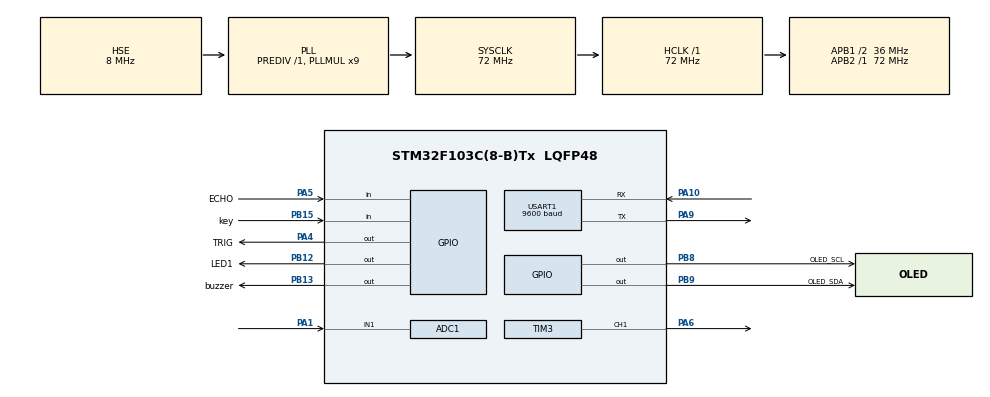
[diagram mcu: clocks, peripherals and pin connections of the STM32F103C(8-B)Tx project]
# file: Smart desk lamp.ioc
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ADC1.Channel-0\#ChannelRegularConversion=ADC_CHANNEL_1
ADC1.ContinuousConvMode=ENABLE
ADC1.NbrOfConversion=1
ADC1.NbrOfConversionFlag=1
ADC1.Rank-0\#ChannelRegularConversion=1
ADC1.SamplingTime-0\#ChannelRegularConversion=ADC_SAMPLETIME_1CYCLE_5
ADC1.master=1
Mcu.Family=STM32F1
Mcu.Name=STM32F103C(8-B)Tx
Mcu.Package=LQFP48
NVIC.PriorityGroup=NVIC_PRIORITYGROUP_4
NVIC.USART1_IRQn=true\:0\:0\:false\:false\:true\:true\:true\:true
PA1.Signal=ADCx_IN1
PA10.Mode=Asynchronous
PA10.Signal=USART1_RX
PA13.Mode=Serial_Wire
PA13.Signal=SYS_JTMS-SWDIO
PA14.Mode=Serial_Wire
PA14.Signal=SYS_JTCK-SWCLK
PA4.GPIO_Label=TRIG
PA4.GPIO_Speed=GPIO_SPEED_FREQ_HIGH
PA4.Signal=GPIO_Output
PA5.GPIO_Label=ECHO
PA5.GPIO_PuPd=GPIO_PULLDOWN
PA5.Signal=GPIO_Input
PA6.Signal=S_TIM3_CH1
PA9.Mode=Asynchronous
PA9.Signal=USART1_TX
PB12.GPIO_Label=LED1
PB12.GPIO_PuPd=GPIO_PULLUP
PB12.GPIO_Speed=GPIO_SPEED_FREQ_HIGH
PB12.PinState=GPIO_PIN_SET
PB12.Signal=GPIO_Output
PB13.GPIO_Label=buzzer
PB13.GPIO_Speed=GPIO_SPEED_FREQ_HIGH
PB13.Signal=GPIO_Output
PB15.GPIO_Label=key
PB15.GPIO_PuPd=GPIO_PULLUP
PB15.Signal=GPIO_Input
PB8.GPIO_Label=OLED_SCL
PB8.GPIO_ModeDefaultOutputPP=GPIO_MODE_OUTPUT_OD
PB8.GPIO_PuPd=GPIO_NOPULL
PB8.GPIO_Speed=GPIO_SPEED_FREQ_HIGH
PB8.Signal=GPIO_Output
PB9.GPIO_Label=OLED_SDA
PB9.GPIO_ModeDefaultOutputPP=GPIO_MODE_OUTPUT_OD
PB9.GPIO_PuPd=GPIO_NOPULL
PB9.GPIO_Speed=GPIO_SPEED_FREQ_HIGH
PB9.Signal=GPIO_Output
PC14-OSC32_IN.Mode=LSE-External-Oscillator
PC14-OSC32_IN.Signal=RCC_OSC32_IN
PC15-OSC32_OUT.Mode=LSE-External-Oscillator
PC15-OSC32_OUT.Signal=RCC_OSC32_OUT
PD0-OSC_IN.Mode=HSE-External-Oscillator
PD0-OSC_IN.Signal=RCC_OSC_IN
PD1-OSC_OUT.Mode=HSE-External-Oscillator
PD1-OSC_OUT.Signal=RCC_OSC_OUT
ProjectManager.HeapSize=0x200
ProjectManager.StackSize=0x400
ProjectManager.TargetToolchain=MDK-ARM V5.32
RCC.ADCPresc=RCC_ADCPCLK2_DIV6
RCC.AHBFreq_Value=72000000
RCC.APB1CLKDivider=RCC_HCLK_DIV2
RCC.APB1Freq_Value=36000000
RCC.APB1TimFreq_Value=72000000
RCC.APB2Freq_Value=72000000
RCC.APB2TimFreq_Value=72000000
RCC.HCLKFreq_Value=72000000
RCC.PLLMUL=RCC_PLL_MUL9
RCC.PLLSourceVirtual=RCC_PLLSOURCE_HSE
RCC.SYSCLKFreq_VALUE=72000000
RCC.SYSCLKSource=RCC_SYSCLKSOURCE_PLLCLK
RCC.USBFreq_Value=72000000
SH.ADCx_IN1.0=ADC1_IN1,IN1
SH.S_TIM3_CH1.0=TIM3_CH1,PWM Generation1 CH1
TIM2.Prescaler=72-1
TIM3.AutoReloadPreload=TIM_AUTORELOAD_PRELOAD_ENABLE
TIM3.Channel-PWM\ Generation1\ CH1=TIM_CHANNEL_1
TIM3.OCPolarity_1=TIM_OCPOLARITY_LOW
TIM3.Period=99
TIM3.Prescaler=7199
USART1.BaudRate=9600
USART1.VirtualMode=VM_ASYNC
VP_TIM2_VS_ClockSourceINT.Mode=Internal
VP_TIM3_VS_ClockSourceINT.Mode=Internal
board=custom

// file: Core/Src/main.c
/* USER CODE BEGIN Header */
/**
  ******************************************************************************
  * @file           : main.c
  * @brief          : Main program body
  ******************************************************************************
  * @attention
  *
  * Copyright (c) 2026 STMicroelectronics.
  * All rights reserved.
  *
  * This software is licensed under terms that can be found in the LICENSE file
  * in the root directory of this software component.
  * If no LICENSE file comes with this software, it is provided AS-IS.
  *
  ******************************************************************************
  */
/* USER CODE END Header */
#include "main.h"
#include "adc.h"
#include "tim.h"
#include "usart.h"
#include "gpio.h"

/* USER CODE BEGIN Includes */
#include "oled.h"
#include "HC-SR04.h"
#include "bluetooth.h"
#include "Buzzer.h"
#include "LED.h"
#include "Key.h"
#include "Posture.h"
#include "Fatigue.h"
//#include "OLED_Ext.h"
/* USER CODE END Includes */

/* USER CODE BEGIN PV */
uint16_t distance = 0;     // 超声波测距值
uint16_t adc_value = 0;    // ADC值

/* 自动调光参数：实测标定值
 * 0 lux   → ADC 3554 → 占空比 93%（最暗环境，灯最亮）
 * 500 lux → ADC 1200 → 占空比 12%（最亮环境，灯最暗）
 * PA6 PWM (1kHz) → 100Ω → AO3400 MOSFET → 5V LED 灯带
 */
#define ADC_DARK        3499
#define ADC_BRIGHT      264
#define DUTY_MAX        100
#define DUTY_MIN        12
#define DEAD_ZONE       2       // 死区：变化小于此值不响应
/* USER CODE END PV */

void SystemClock_Config(void);

/* USER CODE BEGIN 0 */

/**
  * @brief  自动调光：根据 ADC 值计算目标 PWM 占空比
  *         0 lux → 93%, 500 lux → 12%，线性映射 + 死区 + 平滑
  * @param  adc: 当前 ADC 原始值
  * @retval 滤波后的目标占空比 (0~100)
  */
uint8_t Auto_Brightness(uint16_t adc)
{
    static uint8_t last_duty = 50;
    uint8_t target;

    /* ADC 限幅 */
    if (adc > ADC_DARK)  adc = ADC_DARK;
    if (adc < ADC_BRIGHT) adc = ADC_BRIGHT;

    /* 分段线性映射：ADC 大（暗）→ duty 大，ADC 小（亮）→ duty 小 */
    /* 共12段，覆盖实际 ADC 范围 3499~264 */
    if (adc >= 3200) {
        /* 3200~3499 → 88~100 */
        target = 88 + (uint8_t)((uint32_t)(adc - 3200) * 12 / 299);
    } else if (adc >= 2900) {
        /* 2900~3200 → 76~88 */
        target = 76 + (uint8_t)((uint32_t)(adc - 2900) * 12 / 300);
    } else if (adc >= 2600) {
        /* 2600~2900 → 65~76 */
        target = 65 + (uint8_t)((uint32_t)(adc - 2600) * 11 / 300);
    } else if (adc >= 2300) {
        /* 2300~2600 → 54~65 */
        target = 54 + (uint8_t)((uint32_t)(adc - 2300) * 11 / 300);
    } else if (adc >= 2000) {
        /* 2000~2300 → 44~54 */
        target = 44 + (uint8_t)((uint32_t)(adc - 2000) * 10 / 300);
    } else if (adc >= 1700) {
        /* 1700~2000 → 34~44 */
        target = 34 + (uint8_t)((uint32_t)(adc - 1700) * 10 / 300);
    } else if (adc >= 1400) {
        /* 1400~1700 → 25~34 */
        target = 25 + (uint8_t)((uint32_t)(adc - 1400) *  9 / 300);
    } else if (adc >= 1100) {
        /* 1100~1400 → 18~25 */
        target = 18 + (uint8_t)((uint32_t)(adc - 1100) *  7 / 300);
    } else if (adc >= 800) {
        /* 800~1100 → 14~18 */
        target = 14 + (uint8_t)((uint32_t)(adc - 800) *  4 / 300);
    } else if (adc >= 500) {
        /* 500~800 → 12~14 */
        target = 12 + (uint8_t)((uint32_t)(adc - 500) *  2 / 300);
    } else {
        /* 264~500 → 12 */
        target = 12;
    }

    /* 死区：变化太小不响应，避免亮度抖动 */
    if (abs((int)target - (int)last_duty) <= DEAD_ZONE) {
        return last_duty;
    }

    /* 自适应步长：大变化快追，小变化慢调，消除突变同时保证响应速度 */
    int16_t diff = (int16_t)target - (int16_t)last_duty;
    uint8_t step;

    if (abs(diff) > 20)
        step = 5;       /* 大变化时快追 */
    else if (abs(diff) > 5)
        step = 2;       /* 中变化时中速 */
    else
        step = 1;       /* 小变化时慢调 */

    if (diff > 0) {
        last_duty += step;
        if (last_duty > target) last_duty = target;
    } else {
        last_duty -= step;
        if (last_duty < target) last_duty = target;
    }

    return last_duty;
}

/**
  * @brief  ADC 滑动平均滤波
  * @retval 滤波后的 ADC 值
  */
#define ADC_FILTER_SIZE  8

uint16_t ADC_GetFiltered(void)
{
    static uint16_t buf[ADC_FILTER_SIZE] = {0};
    static uint8_t  idx = 0;
    static uint32_t sum = 0;
    static uint8_t  filled = 0;

    sum -= buf[idx];
    buf[idx] = HAL_ADC_GetValue(&hadc1);
    sum += buf[idx];
    idx = (idx + 1) % ADC_FILTER_SIZE;

    if (!filled) {
        if (idx == 0) filled = 1;
    }

    uint8_t count = filled ? ADC_FILTER_SIZE : idx;
    if (count == 0) count = 1;  // 安全保护，防止除零
    return (uint16_t)(sum / count);
}

/* USER CODE END 0 */

int main(void)
{

  /* MCU Configuration--------------------------------------------------------*/

  /* Reset of all peripherals, Initializes the Flash interface and the Systick. */
  HAL_Init();

  /* Configure the system clock */
  SystemClock_Config();

  /* Initialize all configured peripherals */
  MX_GPIO_Init();
  MX_ADC1_Init();
  MX_TIM3_Init();
  MX_TIM2_Init();
  MX_USART1_UART_Init();
  /* USER CODE BEGIN 2 */
  HAL_TIM_PWM_Start(&htim3,TIM_CHANNEL_1);
  OLED_Init();
  HC_SR04_Init();
  Bluetooth_Init();
  HAL_ADCEx_Calibration_Start(&hadc1);
  HAL_ADC_Start(&hadc1);
  Buzzer_Init();
  Key_Init();
  LED_Init();
  Posture_Init();
  Fatigue_Init();
  OLED_Clear();
  //OLED_ShowString(1, 1, "ADC:");
  OLED_ShowString(1, 1, "brt:");
  OLED_ShowString(2, 1, "D:");
  OLED_ShowString(2, 6, "cm");
  //OLED_ShowString(3, 1, "Mode:");
  /* USER CODE END 2 */

  /* Infinite loop */
  while (1)
  {

    // 0. 超声波超时维护（非阻塞，每次循环都检查）
    HC_SR04_Update();

    // 1. 蓝牙命令处理
    Bluetooth_Process();

    // 2. 100ms 定时任务
    static uint32_t last_tick = 0;
    if(HAL_GetTick() - last_tick >= 100)
    {
        last_tick = HAL_GetTick();

        // 使用滑动平均滤波后的 ADC 值
        adc_value = ADC_GetFiltered();
        distance = HC_SR04_GetDistance_cm();

        // 自动调光：使用新的标定映射 + 平滑算法
        if(lamp_mode == MODE_AUTO)
        {
            uint8_t duty = Auto_Brightness(adc_value);
            Set_Brightness(duty);
            OLED_ShowNum(1, 5, duty, 3);
        }

        // OLED 显示
        OLED_ShowString(1,8,"%");
        OLED_ShowNum(2, 3, distance, 3);
        if(lamp_mode == MODE_AUTO) {
            OLED_ShowString(1, 10, "AUTO");
        } else {
            OLED_ShowString(1, 10 , "MANU");
        }

        // 显示学习时间 (MM:SS)
        uint32_t learn_sec = Fatigue_GetLearningTime();
        uint16_t mins = learn_sec / 60;
        uint8_t secs = learn_sec % 60;
        OLED_ShowNum(2, 9, mins, 2);
        OLED_ShowChar(2, 11, ':');
        OLED_ShowNum(2, 12, secs,2);
    }

    // ================= 姿态与疲劳检测 =================
    // 3. 姿态检测（传入距离）
    Posture_Update(distance);

    // 4. 疲劳检测（传入距离和当前亮度）
    uint8_t current_brightness = (__HAL_TIM_GET_COMPARE(&htim3, TIM_CHANNEL_1) * 100) / __HAL_TIM_GET_AUTORELOAD(&htim3);
    Fatigue_Update(distance, current_brightness);
  }
}

void SystemClock_Config(void)
{
  RCC_OscInitTypeDef RCC_OscInitStruct = {0};
  RCC_ClkInitTypeDef RCC_ClkInitStruct = {0};
  RCC_PeriphCLKInitTypeDef PeriphClkInit = {0};

  /** Initializes the RCC Oscillators according to the specified parameters
  * in the RCC_OscInitTypeDef structure.
  */
  RCC_OscInitStruct.OscillatorType = RCC_OSCILLATORTYPE_HSE;
  RCC_OscInitStruct.HSEState = RCC_HSE_ON;
  RCC_OscInitStruct.HSEPredivValue = RCC_HSE_PREDIV_DIV1;
  RCC_OscInitStruct.HSIState = RCC_HSI_ON;
  RCC_OscInitStruct.PLL.PLLState = RCC_PLL_ON;
  RCC_OscInitStruct.PLL.PLLSource = RCC_PLLSOURCE_HSE;
  RCC_OscInitStruct.PLL.PLLMUL = RCC_PLL_MUL9;
  if (HAL_RCC_OscConfig(&RCC_OscInitStruct) != HAL_OK)
  {
    Error_Handler();
  }

  /** Initializes the CPU, AHB and APB buses clocks
  */
  RCC_ClkInitStruct.ClockType = RCC_CLOCKTYPE_HCLK|RCC_CLOCKTYPE_SYSCLK
                              |RCC_CLOCKTYPE_PCLK1|RCC_CLOCKTYPE_PCLK2;
  RCC_ClkInitStruct.SYSCLKSource = RCC_SYSCLKSOURCE_PLLCLK;
  RCC_ClkInitStruct.AHBCLKDivider = RCC_SYSCLK_DIV1;
  RCC_ClkInitStruct.APB1CLKDivider = RCC_HCLK_DIV2;
  RCC_ClkInitStruct.APB2CLKDivider = RCC_HCLK_DIV1;

  if (HAL_RCC_ClockConfig(&RCC_ClkInitStruct, FLASH_LATENCY_2) != HAL_OK)
  {
    Error_Handler();
  }
  PeriphClkInit.PeriphClockSelection = RCC_PERIPHCLK_ADC;
  PeriphClkInit.AdcClockSelection = RCC_ADCPCLK2_DIV6;
  if (HAL_RCCEx_PeriphCLKConfig(&PeriphClkInit) != HAL_OK)
  {
    Error_Handler();
  }
}

void Error_Handler(void)
{
  __disable_irq();
  while (1)
  {
  }
}
